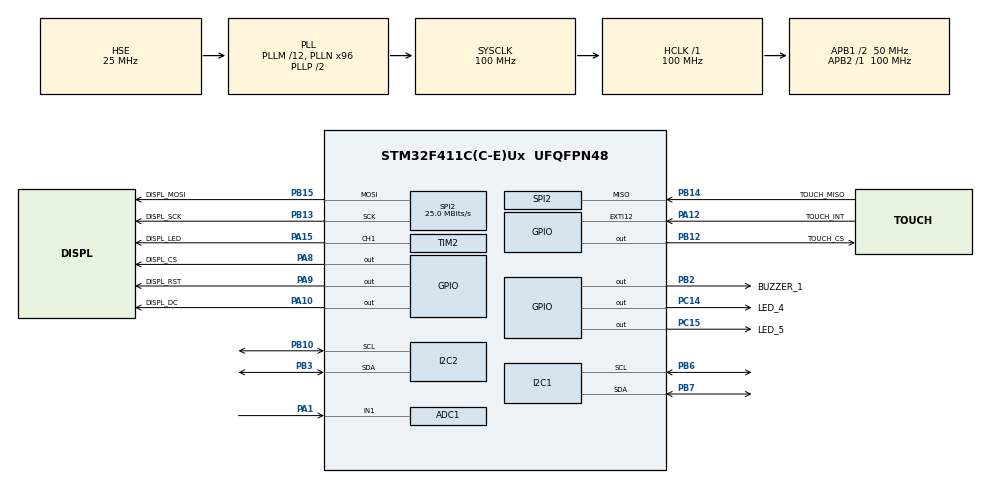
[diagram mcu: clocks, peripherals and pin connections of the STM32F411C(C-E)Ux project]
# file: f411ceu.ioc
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ADC1.Channel-0\#ChannelRegularConversion=ADC_CHANNEL_1
ADC1.NbrOfConversionFlag=1
ADC1.Rank-0\#ChannelRegularConversion=1
ADC1.SamplingTime-0\#ChannelRegularConversion=ADC_SAMPLETIME_3CYCLES
ADC1.master=1
Dma.Request0=SPI2_TX
Dma.SPI2_TX.0.Direction=DMA_MEMORY_TO_PERIPH
Dma.SPI2_TX.0.FIFOMode=DMA_FIFOMODE_DISABLE
Dma.SPI2_TX.0.Instance=DMA1_Stream4
Dma.SPI2_TX.0.MemDataAlignment=DMA_MDATAALIGN_BYTE
Dma.SPI2_TX.0.MemInc=DMA_MINC_ENABLE
Dma.SPI2_TX.0.Mode=DMA_NORMAL
Dma.SPI2_TX.0.PeriphDataAlignment=DMA_PDATAALIGN_BYTE
Dma.SPI2_TX.0.PeriphInc=DMA_PINC_DISABLE
Dma.SPI2_TX.0.Priority=DMA_PRIORITY_LOW
I2C2.I2C_Mode=I2C_Fast
Mcu.Family=STM32F4
Mcu.Name=STM32F411C(C-E)Ux
Mcu.Package=UFQFPN48
NVIC.DMA1_Stream4_IRQn=true\:0\:0\:false\:false\:true\:false\:true\:true
NVIC.EXTI15_10_IRQn=true\:0\:0\:false\:false\:true\:true\:true\:true
NVIC.PriorityGroup=NVIC_PRIORITYGROUP_4
NVIC.SPI2_IRQn=true\:0\:0\:false\:false\:true\:true\:true\:true
NVIC.TIM1_BRK_TIM9_IRQn=true\:0\:0\:false\:false\:true\:true\:true\:true
NVIC.TIM1_UP_TIM10_IRQn=true\:0\:0\:false\:false\:true\:true\:true\:true
NVIC.TIM3_IRQn=true\:0\:0\:false\:false\:true\:true\:true\:true
PA1.Signal=ADCx_IN1
PA10.GPIO_Label=DISPL_DC
PA10.GPIO_Speed=GPIO_SPEED_FREQ_HIGH
PA10.Signal=GPIO_Output
PA12.GPIO_Label=TOUCH_INT
PA12.GPIO_PuPd=GPIO_PULLUP
PA12.Signal=GPXTI12
PA13.Mode=Serial_Wire
PA13.Signal=SYS_JTMS-SWDIO
PA14.Mode=Serial_Wire
PA14.Signal=SYS_JTCK-SWCLK
PA15.GPIO_Label=DISPL_LED
PA15.Signal=S_TIM2_CH1_ETR
PA8.GPIO_Label=DISPL_CS
PA8.GPIO_Speed=GPIO_SPEED_FREQ_HIGH
PA8.PinState=GPIO_PIN_SET
PA8.Signal=GPIO_Output
PA9.GPIO_Label=DISPL_RST
PA9.Signal=GPIO_Output
PB10.Mode=I2C
PB10.Signal=I2C2_SCL
PB12.GPIO_Label=TOUCH_CS
PB12.GPIO_Speed=GPIO_SPEED_FREQ_HIGH
PB12.PinState=GPIO_PIN_SET
PB12.Signal=GPIO_Output
PB13.GPIO_Label=DISPL_SCK
PB13.Mode=Full_Duplex_Master
PB13.Signal=SPI2_SCK
PB14.GPIO_Label=TOUCH_MISO
PB14.Mode=Full_Duplex_Master
PB14.Signal=SPI2_MISO
PB15.GPIO_Label=DISPL_MOSI
PB15.Mode=Full_Duplex_Master
PB15.Signal=SPI2_MOSI
PB2.GPIO_Label=BUZZER_1
PB2.Signal=GPIO_Output
PB3.Mode=I2C
PB3.Signal=I2C2_SDA
PB6.Mode=I2C
PB6.Signal=I2C1_SCL
PB7.Mode=I2C
PB7.Signal=I2C1_SDA
PC14-OSC32_IN.GPIO_Label=LED_4
PC14-OSC32_IN.Signal=GPIO_Output
PC15-OSC32_OUT.GPIO_Label=LED_5
PC15-OSC32_OUT.Signal=GPIO_Output
PH0\ -\ OSC_IN.Mode=HSE-External-Oscillator
PH0\ -\ OSC_IN.Signal=RCC_OSC_IN
PH1\ -\ OSC_OUT.Mode=HSE-External-Oscillator
PH1\ -\ OSC_OUT.Signal=RCC_OSC_OUT
ProjectManager.HeapSize=0x200
ProjectManager.StackSize=0x400
ProjectManager.TargetToolchain=STM32CubeIDE
RCC.48MHZClocksFreq_Value=50000000
RCC.AHBFreq_Value=100000000
RCC.APB1CLKDivider=RCC_HCLK_DIV2
RCC.APB1Freq_Value=50000000
RCC.APB1TimFreq_Value=100000000
RCC.APB2Freq_Value=100000000
RCC.APB2TimFreq_Value=100000000
RCC.CortexFreq_Value=100000000
RCC.HCLKFreq_Value=100000000
RCC.HSE_VALUE=25000000
RCC.HSI_VALUE=16000000
RCC.LSE_VALUE=32768
RCC.PLLM=12
RCC.PLLN=96
RCC.PLLSourceVirtual=RCC_PLLSOURCE_HSE
RCC.SYSCLKFreq_VALUE=100000000
RCC.SYSCLKSource=RCC_SYSCLKSOURCE_PLLCLK
RCC.VCOOutputFreq_Value=200000000
SH.ADCx_IN1.0=ADC1_IN1,IN1
SH.S_TIM2_CH1_ETR.0=TIM2_CH1,PWM Generation1 CH1
SPI2.CalculateBaudRate=25.0 MBits/s
SPI2.Direction=SPI_DIRECTION_2LINES
SPI2.Mode=SPI_MODE_MASTER
SPI2.VirtualType=VM_MASTER
STMicroelectronics.X-CUBE-TOUCHGFX.4.22.1.ApplicationCcGraphicsJjApplication=TouchGFXOoGenerator
STMicroelectronics.X-CUBE-TOUCHGFX.4.22.1.tgfx_buffering_strategy=Partial
STMicroelectronics.X-CUBE-TOUCHGFX.4.22.1.tgfx_custom_height=320
STMicroelectronics.X-CUBE-TOUCHGFX.4.22.1.tgfx_custom_width=240
STMicroelectronics.X-CUBE-TOUCHGFX.4.22.1_IsPackSelfContextualization=true
TIM10.Period=199
TIM10.Prescaler=4999
TIM2.Channel-PWM\ Generation1\ CH1=TIM_CHANNEL_1
TIM2.Period=100
TIM2.Prescaler=1000
TIM3.Period=100
TIM3.Prescaler=13333
TIM9.Period=999
TIM9.Prescaler=49
VP_CRC_VS_CRC.Mode=CRC_Activate
VP_STMicroelectronics.X-CUBE-TOUCHGFX_VS_GraphicsJjApplication_4.22.1.Mode=GraphicsJjApplication
VP_TIM10_VS_ClockSourceINT.Mode=Enable_Timer
VP_TIM3_VS_ClockSourceINT.Mode=Internal
VP_TIM9_VS_ClockSourceINT.Mode=Internal
board=custom

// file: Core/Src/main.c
/* USER CODE BEGIN Header */
/**
  ******************************************************************************
  * @file           : main.c
  * @brief          : Main program body
  ******************************************************************************
  * @attention
  *
  * Copyright (c) 2023 STMicroelectronics.
  * All rights reserved.
  *
  * This software is licensed under terms that can be found in the LICENSE file
  * in the root directory of this software component.
  * If no LICENSE file comes with this software, it is provided AS-IS.
  *
  ******************************************************************************
  */
/* USER CODE END Header */
#include "main.h"
#include "app_touchgfx.h"

/* USER CODE BEGIN Includes */
extern	uint8_t hour ;
extern	uint8_t minute ;
extern	uint8_t second ;
extern float  Pa ;
extern float T;
float THYST;
float TOS;
uint32_t counter;
/* USER CODE END Includes */

/* USER CODE BEGIN PTD */
            uint8_t date ;
	  		uint8_t month ;
	  		uint16_t year ;
	  		uint8_t dow ;
	  		int8_t zone_hr ;
	  		uint8_t zone_min ;
/* USER CODE END PTD */

/* USER CODE BEGIN PD */
typedef enum {Mode1,Mode20,Mode21,Mode30,Mode31}mode;
/* USER CODE END PD */

ADC_HandleTypeDef hadc1;

CRC_HandleTypeDef hcrc;

I2C_HandleTypeDef hi2c1;
I2C_HandleTypeDef hi2c2;

SPI_HandleTypeDef hspi2;
DMA_HandleTypeDef hdma_spi2_tx;

TIM_HandleTypeDef htim2;
TIM_HandleTypeDef htim3;
TIM_HandleTypeDef htim9;
TIM_HandleTypeDef htim10;

/* USER CODE BEGIN PV */

static const uint8_t BMP_ADDR = 0xEC; // Use 8-bit address --> 0x76<<1 = 0xEC
/* USER CODE END PV */

void SystemClock_Config(void);
static void MX_GPIO_Init(void);
static void MX_DMA_Init(void);
static void MX_SPI2_Init(void);
static void MX_CRC_Init(void);
static void MX_TIM2_Init(void);
static void MX_TIM3_Init(void);
static void MX_ADC1_Init(void);
static void MX_I2C1_Init(void);
static void MX_I2C2_Init(void);
static void MX_TIM9_Init(void);
static void MX_TIM10_Init(void);

/* USER CODE BEGIN 0 */

uint16_t doadc = 0;
float voltage ;
extern float RSdivRL;
float getAdcVoltage(ADC_HandleTypeDef* hadc1) {
	HAL_ADC_Start(hadc1);
	doadc = HAL_ADC_GetValue(hadc1);
	HAL_Delay(100);
	voltage = ((doadc*1.0)*5.0) / 4096;
	return voltage;
}

 float getGasConcentration(ADC_HandleTypeDef* hadc1) {
	HAL_ADC_Start(hadc1);
	float Vrl = getAdcVoltage(hadc1);
    RSdivRL = (5.0 - Vrl)/Vrl;
    log(RSdivRL);
	return RSdivRL;
}
 float Temperature, Pressure, Humidity;

/* USER CODE END 0 */

int main(void)
{

  /* MCU Configuration--------------------------------------------------------*/

  /* Reset of all peripherals, Initializes the Flash interface and the Systick. */
  HAL_Init();

  /* Configure the system clock */
  SystemClock_Config();

  /* Initialize all configured peripherals */
  MX_GPIO_Init();
  MX_DMA_Init();
  MX_SPI2_Init();
  MX_CRC_Init();
  MX_TIM2_Init();
  MX_TIM3_Init();
  MX_ADC1_Init();
  MX_I2C1_Init();
  MX_I2C2_Init();
  MX_TIM9_Init();
  MX_TIM10_Init();
  MX_TouchGFX_Init();
  /* USER CODE BEGIN 2 */
  mode mode_temp;
  Displ_Init(Displ_Orientat_0);			// initialize display controller - set orientation parameter as per TouchGFX setup
  Displ_BackLight('I');  					// initialize backlight
  HAL_TIM_Base_Start_IT(&TGFX_T);			// start TouchGFX tick timer
	    THYST = LM75_THYST_Read();
	    TOS = LM75_TOS_Read();
	    DS1307_Init(&hi2c2);
	  	DS1307_SetTimeZone(+8, 00);
	  	DS1307_SetDate(30);
	  	DS1307_SetMonth(11);
	  	DS1307_SetYear(2023);
	  	DS1307_SetDayOfWeek(4);
	  	DS1307_SetHour(11);
	  	DS1307_SetMinute(16);
	  	DS1307_SetSecond(30);
	   int ret = BMP280_Config(OSRS_16, OSRS_16, OSRS_OFF, MODE_NORMAL, T_SB_1000, IIR_16);
	  	HAL_Delay(500);
  /* USER CODE END 2 */

  /* Infinite loop */
  /* USER CODE BEGIN WHILE */
  while (1)
  {
	  T= LM75_TemperatureRead();
	  if(mode_temp==Mode1){
		  HAL_GPIO_WritePin(LED_4_GPIO_Port, LED_4_Pin, GPIO_PIN_RESET);
		  HAL_TIM_Base_Stop_IT(&htim9);
		  HAL_TIM_Base_Stop_IT(&htim10);
		  counter=0;
		  if(T>27)	mode_temp=Mode20;
	  }
	  else if(mode_temp == Mode20){
		  HAL_TIM_Base_Start_IT(&htim10);
		  mode_temp=Mode21;
	  }
	  else if(mode_temp == Mode21){
	  	  if(T<27)	mode_temp=Mode1;
	  	  else if ( T>=27 && counter >=800){
	 	  mode_temp=Mode30;
	  	}
	  	else mode_temp=Mode21;
	  }
	  else if(mode_temp==Mode30){
		  HAL_GPIO_WritePin(LED_4_GPIO_Port, LED_4_Pin, GPIO_PIN_SET);
		  HAL_TIM_Base_Start_IT(&htim9);
		  mode_temp=Mode31;

	  }
	  else if(mode_temp==Mode31){
		  if(T<27)	mode_temp=Mode1;
		  else mode_temp=Mode31;
	  }
	  getGasConcentration(&hadc1);
	  Pa = BMP280_Measure();
	  if( Pa > 96000){
		  HAL_GPIO_WritePin(LED_5_GPIO_Port, LED_5_Pin, GPIO_PIN_SET);
		  HAL_TIM_Base_Start_IT(&htim9);
	  }
	  else {
		  HAL_TIM_Base_Stop_IT(&htim9);
	  }

	  hour   = DS1307_GetHour();
	  minute = DS1307_GetMinute();
	  second = DS1307_GetSecond();

    /* USER CODE END WHILE */

  MX_TouchGFX_Process();
  }
}

void SystemClock_Config(void)
{
  RCC_OscInitTypeDef RCC_OscInitStruct = {0};
  RCC_ClkInitTypeDef RCC_ClkInitStruct = {0};

  /** Configure the main internal regulator output voltage
  */
  __HAL_RCC_PWR_CLK_ENABLE();
  __HAL_PWR_VOLTAGESCALING_CONFIG(PWR_REGULATOR_VOLTAGE_SCALE1);

  /** Initializes the RCC Oscillators according to the specified parameters
  * in the RCC_OscInitTypeDef structure.
  */
  RCC_OscInitStruct.OscillatorType = RCC_OSCILLATORTYPE_HSE;
  RCC_OscInitStruct.HSEState = RCC_HSE_ON;
  RCC_OscInitStruct.PLL.PLLState = RCC_PLL_ON;
  RCC_OscInitStruct.PLL.PLLSource = RCC_PLLSOURCE_HSE;
  RCC_OscInitStruct.PLL.PLLM = 12;
  RCC_OscInitStruct.PLL.PLLN = 96;
  RCC_OscInitStruct.PLL.PLLP = RCC_PLLP_DIV2;
  RCC_OscInitStruct.PLL.PLLQ = 4;
  if (HAL_RCC_OscConfig(&RCC_OscInitStruct) != HAL_OK)
  {
    Error_Handler();
  }

  /** Initializes the CPU, AHB and APB buses clocks
  */
  RCC_ClkInitStruct.ClockType = RCC_CLOCKTYPE_HCLK|RCC_CLOCKTYPE_SYSCLK
                              |RCC_CLOCKTYPE_PCLK1|RCC_CLOCKTYPE_PCLK2;
  RCC_ClkInitStruct.SYSCLKSource = RCC_SYSCLKSOURCE_PLLCLK;
  RCC_ClkInitStruct.AHBCLKDivider = RCC_SYSCLK_DIV1;
  RCC_ClkInitStruct.APB1CLKDivider = RCC_HCLK_DIV2;
  RCC_ClkInitStruct.APB2CLKDivider = RCC_HCLK_DIV1;

  if (HAL_RCC_ClockConfig(&RCC_ClkInitStruct, FLASH_LATENCY_3) != HAL_OK)
  {
    Error_Handler();
  }
}

static void MX_ADC1_Init(void)
{

  ADC_ChannelConfTypeDef sConfig = {0};

  /** Configure the global features of the ADC (Clock, Resolution, Data Alignment and number of conversion)
  */
  hadc1.Instance = ADC1;
  hadc1.Init.ClockPrescaler = ADC_CLOCK_SYNC_PCLK_DIV4;
  hadc1.Init.Resolution = ADC_RESOLUTION_12B;
  hadc1.Init.ScanConvMode = DISABLE;
  hadc1.Init.ContinuousConvMode = DISABLE;
  hadc1.Init.DiscontinuousConvMode = DISABLE;
  hadc1.Init.ExternalTrigConvEdge = ADC_EXTERNALTRIGCONVEDGE_NONE;
  hadc1.Init.ExternalTrigConv = ADC_SOFTWARE_START;
  hadc1.Init.DataAlign = ADC_DATAALIGN_RIGHT;
  hadc1.Init.NbrOfConversion = 1;
  hadc1.Init.DMAContinuousRequests = DISABLE;
  hadc1.Init.EOCSelection = ADC_EOC_SINGLE_CONV;
  if (HAL_ADC_Init(&hadc1) != HAL_OK)
  {
    Error_Handler();
  }

  /** Configure for the selected ADC regular channel its corresponding rank in the sequencer and its sample time.
  */
  sConfig.Channel = ADC_CHANNEL_1;
  sConfig.Rank = 1;
  sConfig.SamplingTime = ADC_SAMPLETIME_3CYCLES;
  if (HAL_ADC_ConfigChannel(&hadc1, &sConfig) != HAL_OK)
  {
    Error_Handler();
  }

}

static void MX_CRC_Init(void)
{

  hcrc.Instance = CRC;
  if (HAL_CRC_Init(&hcrc) != HAL_OK)
  {
    Error_Handler();
  }

}

static void MX_I2C1_Init(void)
{

  hi2c1.Instance = I2C1;
  hi2c1.Init.ClockSpeed = 100000;
  hi2c1.Init.DutyCycle = I2C_DUTYCYCLE_2;
  hi2c1.Init.OwnAddress1 = 0;
  hi2c1.Init.AddressingMode = I2C_ADDRESSINGMODE_7BIT;
  hi2c1.Init.DualAddressMode = I2C_DUALADDRESS_DISABLE;
  hi2c1.Init.OwnAddress2 = 0;
  hi2c1.Init.GeneralCallMode = I2C_GENERALCALL_DISABLE;
  hi2c1.Init.NoStretchMode = I2C_NOSTRETCH_DISABLE;
  if (HAL_I2C_Init(&hi2c1) != HAL_OK)
  {
    Error_Handler();
  }

}

static void MX_I2C2_Init(void)
{

  hi2c2.Instance = I2C2;
  hi2c2.Init.ClockSpeed = 400000;
  hi2c2.Init.DutyCycle = I2C_DUTYCYCLE_2;
  hi2c2.Init.OwnAddress1 = 0;
  hi2c2.Init.AddressingMode = I2C_ADDRESSINGMODE_7BIT;
  hi2c2.Init.DualAddressMode = I2C_DUALADDRESS_DISABLE;
  hi2c2.Init.OwnAddress2 = 0;
  hi2c2.Init.GeneralCallMode = I2C_GENERALCALL_DISABLE;
  hi2c2.Init.NoStretchMode = I2C_NOSTRETCH_DISABLE;
  if (HAL_I2C_Init(&hi2c2) != HAL_OK)
  {
    Error_Handler();
  }

}

static void MX_SPI2_Init(void)
{

  /* SPI2 parameter configuration*/
  hspi2.Instance = SPI2;
  hspi2.Init.Mode = SPI_MODE_MASTER;
  hspi2.Init.Direction = SPI_DIRECTION_2LINES;
  hspi2.Init.DataSize = SPI_DATASIZE_8BIT;
  hspi2.Init.CLKPolarity = SPI_POLARITY_LOW;
  hspi2.Init.CLKPhase = SPI_PHASE_1EDGE;
  hspi2.Init.NSS = SPI_NSS_SOFT;
  hspi2.Init.BaudRatePrescaler = SPI_BAUDRATEPRESCALER_2;
  hspi2.Init.FirstBit = SPI_FIRSTBIT_MSB;
  hspi2.Init.TIMode = SPI_TIMODE_DISABLE;
  hspi2.Init.CRCCalculation = SPI_CRCCALCULATION_DISABLE;
  hspi2.Init.CRCPolynomial = 10;
  if (HAL_SPI_Init(&hspi2) != HAL_OK)
  {
    Error_Handler();
  }

}

static void MX_TIM2_Init(void)
{

  TIM_MasterConfigTypeDef sMasterConfig = {0};
  TIM_OC_InitTypeDef sConfigOC = {0};

  htim2.Instance = TIM2;
  htim2.Init.Prescaler = 1000;
  htim2.Init.CounterMode = TIM_COUNTERMODE_UP;
  htim2.Init.Period = 100;
  htim2.Init.ClockDivision = TIM_CLOCKDIVISION_DIV1;
  htim2.Init.AutoReloadPreload = TIM_AUTORELOAD_PRELOAD_DISABLE;
  if (HAL_TIM_PWM_Init(&htim2) != HAL_OK)
  {
    Error_Handler();
  }
  sMasterConfig.MasterOutputTrigger = TIM_TRGO_RESET;
  sMasterConfig.MasterSlaveMode = TIM_MASTERSLAVEMODE_DISABLE;
  if (HAL_TIMEx_MasterConfigSynchronization(&htim2, &sMasterConfig) != HAL_OK)
  {
    Error_Handler();
  }
  sConfigOC.OCMode = TIM_OCMODE_PWM1;
  sConfigOC.Pulse = 0;
  sConfigOC.OCPolarity = TIM_OCPOLARITY_HIGH;
  sConfigOC.OCFastMode = TIM_OCFAST_DISABLE;
  if (HAL_TIM_PWM_ConfigChannel(&htim2, &sConfigOC, TIM_CHANNEL_1) != HAL_OK)
  {
    Error_Handler();
  }
  HAL_TIM_MspPostInit(&htim2);

}

static void MX_TIM3_Init(void)
{

  TIM_ClockConfigTypeDef sClockSourceConfig = {0};
  TIM_MasterConfigTypeDef sMasterConfig = {0};

  htim3.Instance = TIM3;
  htim3.Init.Prescaler = 13333;
  htim3.Init.CounterMode = TIM_COUNTERMODE_UP;
  htim3.Init.Period = 100;
  htim3.Init.ClockDivision = TIM_CLOCKDIVISION_DIV1;
  htim3.Init.AutoReloadPreload = TIM_AUTORELOAD_PRELOAD_DISABLE;
  if (HAL_TIM_Base_Init(&htim3) != HAL_OK)
  {
    Error_Handler();
  }
  sClockSourceConfig.ClockSource = TIM_CLOCKSOURCE_INTERNAL;
  if (HAL_TIM_ConfigClockSource(&htim3, &sClockSourceConfig) != HAL_OK)
  {
    Error_Handler();
  }
  sMasterConfig.MasterOutputTrigger = TIM_TRGO_RESET;
  sMasterConfig.MasterSlaveMode = TIM_MASTERSLAVEMODE_DISABLE;
  if (HAL_TIMEx_MasterConfigSynchronization(&htim3, &sMasterConfig) != HAL_OK)
  {
    Error_Handler();
  }

}

static void MX_TIM9_Init(void)
{

  TIM_ClockConfigTypeDef sClockSourceConfig = {0};

  htim9.Instance = TIM9;
  htim9.Init.Prescaler = 49;
  htim9.Init.CounterMode = TIM_COUNTERMODE_UP;
  htim9.Init.Period = 999;
  htim9.Init.ClockDivision = TIM_CLOCKDIVISION_DIV1;
  htim9.Init.AutoReloadPreload = TIM_AUTORELOAD_PRELOAD_DISABLE;
  if (HAL_TIM_Base_Init(&htim9) != HAL_OK)
  {
    Error_Handler();
  }
  sClockSourceConfig.ClockSource = TIM_CLOCKSOURCE_INTERNAL;
  if (HAL_TIM_ConfigClockSource(&htim9, &sClockSourceConfig) != HAL_OK)
  {
    Error_Handler();
  }

}

static void MX_TIM10_Init(void)
{

  htim10.Instance = TIM10;
  htim10.Init.Prescaler = 4999;
  htim10.Init.CounterMode = TIM_COUNTERMODE_UP;
  htim10.Init.Period = 199;
  htim10.Init.ClockDivision = TIM_CLOCKDIVISION_DIV1;
  htim10.Init.AutoReloadPreload = TIM_AUTORELOAD_PRELOAD_DISABLE;
  if (HAL_TIM_Base_Init(&htim10) != HAL_OK)
  {
    Error_Handler();
  }

}

static void MX_DMA_Init(void)
{

  /* DMA controller clock enable */
  __HAL_RCC_DMA1_CLK_ENABLE();

  /* DMA interrupt init */
  /* DMA1_Stream4_IRQn interrupt configuration */
  HAL_NVIC_SetPriority(DMA1_Stream4_IRQn, 0, 0);
  HAL_NVIC_EnableIRQ(DMA1_Stream4_IRQn);

}

static void MX_GPIO_Init(void)
{
  GPIO_InitTypeDef GPIO_InitStruct = {0};

  /* GPIO Ports Clock Enable */
  __HAL_RCC_GPIOC_CLK_ENABLE();
  __HAL_RCC_GPIOH_CLK_ENABLE();
  __HAL_RCC_GPIOA_CLK_ENABLE();
  __HAL_RCC_GPIOB_CLK_ENABLE();

  /*Configure GPIO pin Output Level */
  HAL_GPIO_WritePin(GPIOC, LED_4_Pin|LED_5_Pin, GPIO_PIN_RESET);

  /*Configure GPIO pin Output Level */
  HAL_GPIO_WritePin(BUZZER_1_GPIO_Port, BUZZER_1_Pin, GPIO_PIN_RESET);

  /*Configure GPIO pin Output Level */
  HAL_GPIO_WritePin(TOUCH_CS_GPIO_Port, TOUCH_CS_Pin, GPIO_PIN_SET);

  /*Configure GPIO pin Output Level */
  HAL_GPIO_WritePin(DISPL_CS_GPIO_Port, DISPL_CS_Pin, GPIO_PIN_SET);

  /*Configure GPIO pin Output Level */
  HAL_GPIO_WritePin(GPIOA, DISPL_RST_Pin|DISPL_DC_Pin, GPIO_PIN_RESET);

  /*Configure GPIO pins : LED_4_Pin LED_5_Pin */
  GPIO_InitStruct.Pin = LED_4_Pin|LED_5_Pin;
  GPIO_InitStruct.Mode = GPIO_MODE_OUTPUT_PP;
  GPIO_InitStruct.Pull = GPIO_NOPULL;
  GPIO_InitStruct.Speed = GPIO_SPEED_FREQ_LOW;
  HAL_GPIO_Init(GPIOC, &GPIO_InitStruct);

  /*Configure GPIO pin : BUZZER_1_Pin */
  GPIO_InitStruct.Pin = BUZZER_1_Pin;
  GPIO_InitStruct.Mode = GPIO_MODE_OUTPUT_PP;
  GPIO_InitStruct.Pull = GPIO_NOPULL;
  GPIO_InitStruct.Speed = GPIO_SPEED_FREQ_LOW;
  HAL_GPIO_Init(BUZZER_1_GPIO_Port, &GPIO_InitStruct);

  /*Configure GPIO pin : TOUCH_CS_Pin */
  GPIO_InitStruct.Pin = TOUCH_CS_Pin;
  GPIO_InitStruct.Mode = GPIO_MODE_OUTPUT_PP;
  GPIO_InitStruct.Pull = GPIO_NOPULL;
  GPIO_InitStruct.Speed = GPIO_SPEED_FREQ_HIGH;
  HAL_GPIO_Init(TOUCH_CS_GPIO_Port, &GPIO_InitStruct);

  /*Configure GPIO pins : DISPL_CS_Pin DISPL_DC_Pin */
  GPIO_InitStruct.Pin = DISPL_CS_Pin|DISPL_DC_Pin;
  GPIO_InitStruct.Mode = GPIO_MODE_OUTPUT_PP;
  GPIO_InitStruct.Pull = GPIO_NOPULL;
  GPIO_InitStruct.Speed = GPIO_SPEED_FREQ_HIGH;
  HAL_GPIO_Init(GPIOA, &GPIO_InitStruct);

  /*Configure GPIO pin : DISPL_RST_Pin */
  GPIO_InitStruct.Pin = DISPL_RST_Pin;
  GPIO_InitStruct.Mode = GPIO_MODE_OUTPUT_PP;
  GPIO_InitStruct.Pull = GPIO_NOPULL;
  GPIO_InitStruct.Speed = GPIO_SPEED_FREQ_LOW;
  HAL_GPIO_Init(DISPL_RST_GPIO_Port, &GPIO_InitStruct);

  /*Configure GPIO pin : TOUCH_INT_Pin */
  GPIO_InitStruct.Pin = TOUCH_INT_Pin;
  GPIO_InitStruct.Mode = GPIO_MODE_IT_RISING;
  GPIO_InitStruct.Pull = GPIO_PULLUP;
  HAL_GPIO_Init(TOUCH_INT_GPIO_Port, &GPIO_InitStruct);

  /* EXTI interrupt init*/
  HAL_NVIC_SetPriority(EXTI15_10_IRQn, 0, 0);
  HAL_NVIC_EnableIRQ(EXTI15_10_IRQn);

}

void Error_Handler(void)
{
  __disable_irq();
  while (1)
  {
  }
}
